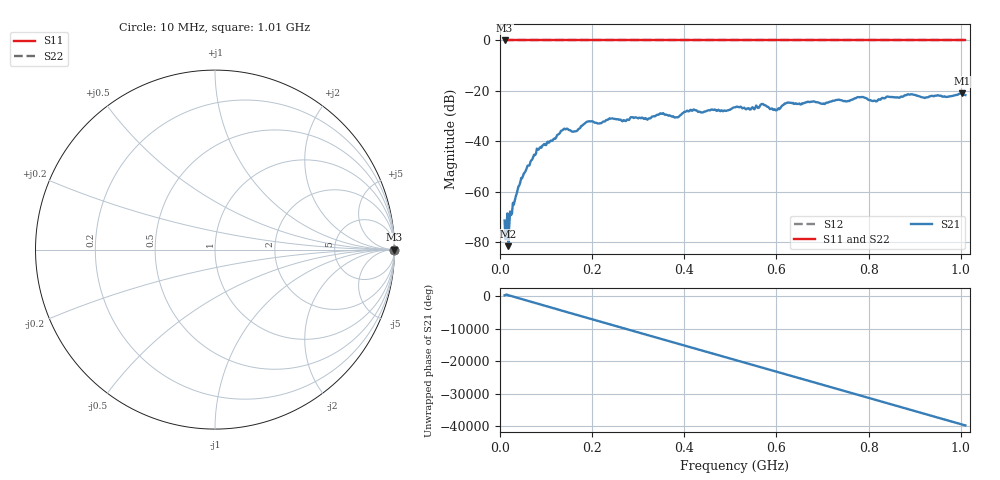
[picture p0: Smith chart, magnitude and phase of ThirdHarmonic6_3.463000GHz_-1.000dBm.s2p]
! 8/17/2025 11:13:09 AM
! C:\ANRITSUVNA\TEMP\TEMP.S2P
! CHANNEL.1
! TR.MEASUREMENT
! RAW.DATA
! RF.CORRECTION.OFF
! AVERAGING.OFF
! IF.BANDWIDTH: 5KHZ
! SWEEPTYPE:  FREQ.SWEEP(Linear)
! Reference Plane Port Info
! PORT:  PORT1  PORT2
! DISTANCE:  0  m  0  m
! TIME:  0  s  0  s
! PHASE.OFFSET:  0  deg.  0  deg.
! LOSS:  0  dB  0  dB
! REF.LOSS:  0  dB  0  dB
! REF.FREQ:  0  Hz  0  Hz
! Power Info
! POWER:  -20  dBm  -20  dBm
! EFF.POWER:  -20  dBm  -20  dBm
! SOURCE.ATTEN:  0  dB  0  dB
! TEST.ATTEN:  0  dB  0  dB
# GHZ S RI R 50.0
! FREQ.GHZ  S11RE  S11IM  S21RE  S21IM  S12RE  S12IM  S22RE  S22IM
!; PortSelection: Port_12
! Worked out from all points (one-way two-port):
!   501 points, 10 MHz to 1.01 GHz, reference 50 ohm
!   highest |S21| = -20.98 dB at 1.002 GHz (marker M1); lowest = -81.6 dB at 18 MHz (marker M2)
!   lowest |S11| = 0.0 dB at 10 MHz (marker M3)
!   |S11| at or under -10 dB: nowhere
!   |S22| runs from 0.0 to 0.0 dB; largest |S21 - S12| = 1.1
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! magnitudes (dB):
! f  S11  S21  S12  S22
! 10 MHz  0.0  -71.4  0.0  0.0
! 16 MHz  0.0  -68.6  0.0  0.0
! 18 MHz  0.0  -81.6  0.0  0.0
! 22 MHz  0.0  -67.8  0.0  0.0
! 26 MHz  0.0  -68.6  0.0  0.0
! 44 MHz  0.0  -56.3  0.0  0.0
! 84 MHz  0.0  -43.2  0.0  0.0
! 136 MHz  0.0  -35.6  0.0  0.0
! 162 MHz  0.0  -36.1  0.0  0.0
! 178 MHz  0.0  -33.8  0.0  0.0
! 344 MHz  0.0  -29.5  0.0  0.0
! 382 MHz  0.0  -30.5  0.0  0.0
! 416 MHz  0.0  -27.8  0.0  0.0
! 510 MHz  0.0  -26.5  0.0  0.0
! 570 MHz  0.0  -25.2  0.0  0.0
! 598 MHz  0.0  -27.7  0.0  0.0
! 622 MHz  0.0  -24.8  0.0  0.0
! 678 MHz  0.0  -24.3  0.0  0.0
! 814 MHz  0.0  -23.9  0.0  0.0
! 844 MHz  0.0  -22.4  0.0  0.0
! 1.002 GHz  0.0  -21.0  0.0  0.0
! 1.01 GHz  0.0  -21.7  0.0  0.0
